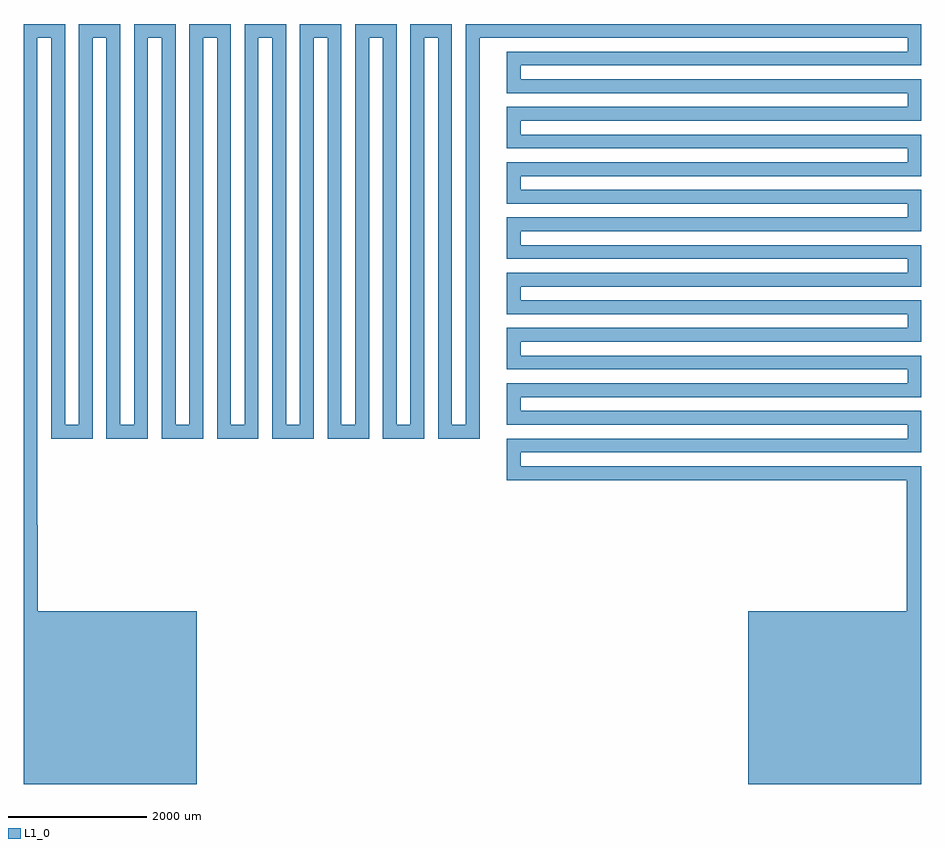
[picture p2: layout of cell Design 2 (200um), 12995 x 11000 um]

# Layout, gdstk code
from math import pi, radians
import gdstk
lib = gdstk.Library(unit=1e-6, precision=1e-09)
def R(c, l, rs):  # rectangles x0, y0, x1, y1
    for r in rs: c.add(gdstk.rectangle(r[:2], r[2:], *l))
def P(c, l, *ps):  # polygons
    for p in ps: c.add(gdstk.Polygon(p, *l))
L1_0 = (1, 0)

connector_200um = lib.new_cell('connector 200um')
R(connector_200um, L1_0, [(-75,-75,125,125)])

interdigitated_electrode = lib.new_cell('Interdigitated electrode 200um')
R(interdigitated_electrode, L1_0, [(-75,4500,125,10500)])

sensing_unit_5 = lib.new_cell('sensing unit 5')
r = gdstk.Reference(connector_200um, (600,4575)); r.repetition = gdstk.Repetition(7, 2, v1=(800,0), v2=(0,0)); sensing_unit_5.add(r)
r = gdstk.Reference(connector_200um, (200,10375)); r.repetition = gdstk.Repetition(8, 2, v1=(800,0), v2=(0,0)); sensing_unit_5.add(r)
r = gdstk.Reference(interdigitated_electrode, (0,0)); r.repetition = gdstk.Repetition(16, 2, v1=(400,0), v2=(0,0)); sensing_unit_5.add(r)

connector_between_the_se = lib.new_cell('connector between the sensing elements')
P(connector_between_the_se, L1_0, [(510,3065),(-90,3065),(-90,-2735),(-290,-2735),(-290,-2935),(110,-2935),(110,2865),(510,2865)])

connector_to_pad2 = lib.new_cell('connector to pad2')
P(connector_to_pad2, L1_0, [(-2490,135),(-2690,135),(-2690,-265),(3310,-265),(3310,-65),(-2490,-65)])

design_2__200um_ = lib.new_cell('Design 2 (200um)')
R(design_2__200um_, L1_0, [(-555,4620,-355,10620)])
P(design_2__200um_, L1_0, [(-355,4622),(-555,4622),(-555,-380),(1950,-380),(1950,2120),(-350,2120)],
  [(12230,4040),(12230,2120),(9930,2120),(9930,-380),(12440,-380),(12440,4040)])
design_2__200um_.add(gdstk.Reference(sensing_unit_5, (1940,10545), rotation=3*pi/2))
design_2__200um_.add(gdstk.Reference(connector_between_the_se, (5935,7555)))
design_2__200um_.add(gdstk.Reference(connector_to_pad2, (9130,4285)))
design_2__200um_.add(gdstk.Reference(interdigitated_electrode, (5520,120)))
design_2__200um_.add(gdstk.Reference(interdigitated_electrode, (5520,120)))
design_2__200um_.add(gdstk.Reference(interdigitated_electrode, (5120,120)))
design_2__200um_.add(gdstk.Reference(interdigitated_electrode, (5120,120)))
design_2__200um_.add(gdstk.Reference(interdigitated_electrode, (4720,120)))
design_2__200um_.add(gdstk.Reference(interdigitated_electrode, (4720,120)))
design_2__200um_.add(gdstk.Reference(interdigitated_electrode, (4320,120)))
design_2__200um_.add(gdstk.Reference(interdigitated_electrode, (4320,120)))
design_2__200um_.add(gdstk.Reference(interdigitated_electrode, (3920,120)))
design_2__200um_.add(gdstk.Reference(interdigitated_electrode, (3920,120)))
design_2__200um_.add(gdstk.Reference(interdigitated_electrode, (3520,120)))
design_2__200um_.add(gdstk.Reference(interdigitated_electrode, (3520,120)))
design_2__200um_.add(gdstk.Reference(interdigitated_electrode, (3120,120)))
design_2__200um_.add(gdstk.Reference(interdigitated_electrode, (3120,120)))
design_2__200um_.add(gdstk.Reference(interdigitated_electrode, (2720,120)))
design_2__200um_.add(gdstk.Reference(interdigitated_electrode, (2720,120)))
design_2__200um_.add(gdstk.Reference(interdigitated_electrode, (2320,120)))
design_2__200um_.add(gdstk.Reference(interdigitated_electrode, (2320,120)))
design_2__200um_.add(gdstk.Reference(interdigitated_electrode, (1920,120)))
design_2__200um_.add(gdstk.Reference(interdigitated_electrode, (1920,120)))
design_2__200um_.add(gdstk.Reference(interdigitated_electrode, (1520,120)))
design_2__200um_.add(gdstk.Reference(interdigitated_electrode, (1520,120)))
design_2__200um_.add(gdstk.Reference(interdigitated_electrode, (1120,120)))
design_2__200um_.add(gdstk.Reference(interdigitated_electrode, (1120,120)))
design_2__200um_.add(gdstk.Reference(interdigitated_electrode, (720,120)))
design_2__200um_.add(gdstk.Reference(interdigitated_electrode, (720,120)))
design_2__200um_.add(gdstk.Reference(interdigitated_electrode, (320,120)))
design_2__200um_.add(gdstk.Reference(interdigitated_electrode, (320,120)))
design_2__200um_.add(gdstk.Reference(interdigitated_electrode, (-80,120)))
design_2__200um_.add(gdstk.Reference(interdigitated_electrode, (-80,120)))
r = gdstk.Reference(connector_200um, (-280,10495)); r.repetition = gdstk.Repetition(8, 2, v1=(800,0), v2=(0,0)); design_2__200um_.add(r)
r = gdstk.Reference(connector_200um, (120,4695)); r.repetition = gdstk.Repetition(7, 2, v1=(800,0), v2=(0,0)); design_2__200um_.add(r)

lib.write_gds('Design_2__200um_.gds')
